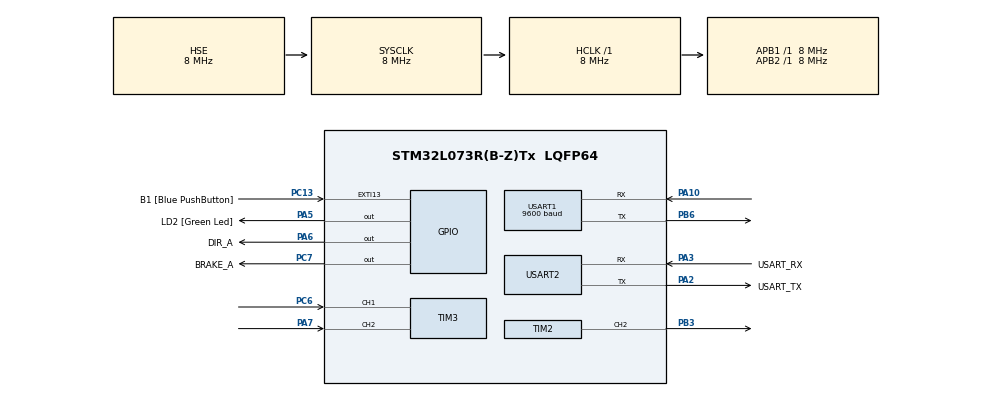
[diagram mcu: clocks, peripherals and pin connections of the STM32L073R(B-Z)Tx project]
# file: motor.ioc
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Mcu.Family=STM32L0
Mcu.Name=STM32L073R(B-Z)Tx
Mcu.Package=LQFP64
NVIC.USART1_IRQn=true\:0\:0\:false\:false\:true\:true\:true\:true
PA10.Mode=Asynchronous
PA10.Signal=USART1_RX
PA13.GPIO_Label=TMS
PA13.Mode=Serial_Wire
PA13.Signal=SYS_SWDIO
PA14.GPIO_Label=TCK
PA14.Mode=Serial_Wire
PA14.Signal=SYS_SWCLK
PA2.GPIO_Label=USART_TX
PA2.Mode=Asynchronous
PA2.Signal=USART2_TX
PA3.GPIO_Label=USART_RX
PA3.Mode=Asynchronous
PA3.Signal=USART2_RX
PA5.GPIO_Label=LD2 [Green Led]
PA5.Signal=GPIO_Output
PA6.GPIO_Label=DIR_A
PA6.GPIO_Speed=GPIO_SPEED_FREQ_MEDIUM
PA6.Signal=GPIO_Output
PA7.Signal=S_TIM3_CH2
PB3.Signal=S_TIM2_CH2
PB6.Mode=Asynchronous
PB6.Signal=USART1_TX
PC13.GPIO_Label=B1 [Blue PushButton]
PC13.GPIO_ModeDefaultEXTI=GPIO_MODE_IT_FALLING
PC13.Signal=GPXTI13
PC14-OSC32_IN.Mode=LSE-External-Oscillator
PC14-OSC32_IN.Signal=RCC_OSC32_IN
PC15-OSC32_OUT.Mode=LSE-External-Oscillator
PC15-OSC32_OUT.Signal=RCC_OSC32_OUT
PC6.Signal=S_TIM3_CH1
PC7.GPIO_Label=BRAKE_A
PC7.GPIO_Speed=GPIO_SPEED_FREQ_MEDIUM
PC7.Signal=GPIO_Output
PH0-OSC_IN.GPIO_Label=MCO
PH0-OSC_IN.Mode=HSE-External-Clock-Source
PH0-OSC_IN.Signal=RCC_OSC_IN
ProjectManager.HeapSize=0x200
ProjectManager.StackSize=0x400
ProjectManager.TargetToolchain=MDK-ARM V5.32
RCC.AHBFreq_Value=8000000
RCC.APB1Freq_Value=8000000
RCC.APB1TimFreq_Value=8000000
RCC.APB2Freq_Value=8000000
RCC.APB2TimFreq_Value=8000000
RCC.HCLKFreq_Value=8000000
RCC.HSE_VALUE=8000000
RCC.HSI16_VALUE=16000000
RCC.HSI48_VALUE=48000000
RCC.HSI_VALUE=16000000
RCC.MSI_VALUE=2097000
RCC.SYSCLKFreq_VALUE=8000000
RCC.SYSCLKSource=RCC_SYSCLKSOURCE_HSE
RCC.VCOOutputFreq_Value=48000000
SH.S_TIM2_CH2.0=TIM2_CH2,PWM Generation2 CH2
SH.S_TIM3_CH1.0=TIM3_CH1,Encoder_Interface
SH.S_TIM3_CH2.0=TIM3_CH2,Encoder_Interface
TIM2.Channel-PWM\ Generation2\ CH2=TIM_CHANNEL_2
TIM2.Period=1000-1
TIM2.Prescaler=8-1
USART1.BaudRate=9600
USART1.VirtualMode-Asynchronous=VM_ASYNC
USART2.VirtualMode-Asynchronous=VM_ASYNC
VP_TIM2_VS_ClockSourceINT.Mode=Internal
board=NUCLEO-L073RZ

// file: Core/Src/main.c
/* USER CODE BEGIN Header */
/**
  ******************************************************************************
  * @file           : main.c
  * @brief          : Main program body - Motor Direct Control with Encoder Feedback
  ******************************************************************************
  * @attention
  *
  * ? ??? ?????? ?? ?? ??? STM32? ?? ????,
  * TIM3(PB0, PB1)? ??? ??? ??? ?? ???? ?????.
  *
  ******************************************************************************
  */
/* USER CODE END Header */
#include "main.h"

/* USER CODE BEGIN Includes */
// ??? ?? ?????? ??? ??? ??
#include <string.h>
#include "hw_vcom.h"
#include <stdio.h>
#include <stdint.h>

/* USER CODE END Includes */

TIM_HandleTypeDef htim2;
TIM_HandleTypeDef htim3;

UART_HandleTypeDef huart1;
UART_HandleTypeDef huart2;

/* USER CODE BEGIN PV */
//#define PWM_DUTY_CYCLE 500
#define MOTOR_DIR_A_GPIO_Port GPIOA
#define MOTOR_DIR_A_Pin GPIO_PIN_6
#define MOTOR_BRAKE_GPIO_Port GPIOC
#define MOTOR_BRAKE_Pin GPIO_PIN_7
/* USER CODE END PV */

void SystemClock_Config(void);
static void MX_GPIO_Init(void);
static void MX_USART2_UART_Init(void);
static void MX_TIM2_Init(void);
static void MX_TIM3_Init(void);
static void MX_USART1_UART_Init(void);
/* USER CODE BEGIN PFP */
void Motor_Forward(void);
void Motor_Backward(void);
void Motor_Stop(void);
int16_t Get_Encoder_Count(void);
void Print_Encoder_Value(void);
uint32_t MotorPulse = 1000;
volatile uint8_t rxData;
volatile int Motorflag = 0;

/* USER CODE END PFP */

/* USER CODE BEGIN 0 */
/**
  * @brief  ??: ???(MOTOR_DIR1 HIGH, MOTOR_DIR2 LOW) ?? ? ?? ENABLE ??? HIGH?
  */
void HAL_UART_RxCpltCallback(UART_HandleTypeDef *huart)
{
    if (huart->Instance == USART1)
    {
				Motorflag = 1;
        HAL_UART_Receive_IT(&huart1, &rxData, 1);
    }
}
void Motor_Forward(void)
{
    HAL_GPIO_WritePin(MOTOR_DIR_A_GPIO_Port, MOTOR_DIR_A_Pin, GPIO_PIN_SET);

    __HAL_TIM_SET_COMPARE(&htim2, TIM_CHANNEL_2, MotorPulse); // PWM ??
    HAL_TIM_PWM_Start(&htim2, TIM_CHANNEL_2); // PWM ?? ??
		//printf("Motor Forward\r\n");
		Printf("Forward PWM: %u\r\n", __HAL_TIM_GET_COMPARE(&htim2, TIM_CHANNEL_2));
		Printf("Motor Forward - PA6: %d\r\n", HAL_GPIO_ReadPin(MOTOR_DIR_A_GPIO_Port, MOTOR_DIR_A_Pin));
		Printf("Brake Pin (PC7) State: %d\r\n", HAL_GPIO_ReadPin(MOTOR_BRAKE_GPIO_Port, MOTOR_BRAKE_Pin));
		Printf("\n");
}

// ?? ??
void Motor_Backward(void)
{
    HAL_GPIO_WritePin(MOTOR_DIR_A_GPIO_Port, MOTOR_DIR_A_Pin, GPIO_PIN_RESET);

    __HAL_TIM_SET_COMPARE(&htim2, TIM_CHANNEL_2, MotorPulse); // PWM ??
		HAL_TIM_PWM_Start(&htim2, TIM_CHANNEL_2); // PWM ?? ??
		//printf("Motor Backward\r\n");
		Printf("Backward PWM: %u\r\n", __HAL_TIM_GET_COMPARE(&htim2, TIM_CHANNEL_2));
		Printf("Motor Backward - PA6: %d\r\n", HAL_GPIO_ReadPin(MOTOR_DIR_A_GPIO_Port, MOTOR_DIR_A_Pin));
		Printf("Brake Pin (PC7) State: %d\r\n", HAL_GPIO_ReadPin(MOTOR_BRAKE_GPIO_Port, MOTOR_BRAKE_Pin));
		Printf("\n");
}

// ?? ??
void Motor_Stop(void)
{
    HAL_GPIO_WritePin(MOTOR_BRAKE_GPIO_Port, MOTOR_BRAKE_Pin, GPIO_PIN_SET);

    HAL_TIM_PWM_Stop(&htim2, TIM_CHANNEL_2); // PWM ?? ??
		//printf("Motor Stopped\r\n");
}

void Motor_Release(void)
{
    HAL_GPIO_WritePin(MOTOR_BRAKE_GPIO_Port, MOTOR_BRAKE_Pin, GPIO_PIN_RESET); // ???? ?? (?? ??)
}

// ??? ? ??
int16_t Get_Encoder_Count(void)
{
    return __HAL_TIM_GET_COUNTER(&htim3);
}

// ??? ? UART? ??
void Print_Encoder_Value(void)
{
    char buffer[50];
    int16_t count = Get_Encoder_Count();
    snprintf(buffer, sizeof(buffer), "Encoder Count: %d\r\n", count);
    HAL_UART_Transmit(&huart2, (uint8_t *)buffer, strlen(buffer), 100);
}
/* USER CODE END 0 */

int main(void)
{

  /* MCU Configuration--------------------------------------------------------*/

  /* Reset of all peripherals, Initializes the Flash interface and the Systick. */
  HAL_Init();

  /* Configure the system clock */
  SystemClock_Config();

  /* Initialize all configured peripherals */
  MX_GPIO_Init();
  MX_USART2_UART_Init();
  MX_TIM2_Init();
  MX_TIM3_Init();
  MX_USART1_UART_Init();
  /* USER CODE BEGIN 2 */
  // TIM3 ??? ????? ???
  if (HAL_TIM_Encoder_Start(&htim3, TIM_CHANNEL_ALL) != HAL_OK)
  {
    Error_Handler();
  }
  HAL_UART_Receive_IT(&huart1, &rxData, 1);
  // PWM ??? ??
  //__HAL_TIM_SET_COMPARE(&htim2, TIM_CHANNEL_2, MotorPulse);
  Motor_Forward();

  /* USER CODE END 2 */

  /* Infinite loop */
  /* USER CODE BEGIN WHILE */
  while (1)
	{
		if(Motorflag) {
			Printf("Received: %c\r\n", rxData);
			if (rxData == '1')
			{
				Motor_Stop();
			}
			Motorflag = 0;
		}
	}
    /* USER CODE END WHILE */

}

void SystemClock_Config(void)
{
  RCC_OscInitTypeDef RCC_OscInitStruct = {0};
  RCC_ClkInitTypeDef RCC_ClkInitStruct = {0};
  RCC_PeriphCLKInitTypeDef PeriphClkInit = {0};

  /** Configure the main internal regulator output voltage
  */
  __HAL_PWR_VOLTAGESCALING_CONFIG(PWR_REGULATOR_VOLTAGE_SCALE1);

  /** Initializes the RCC Oscillators according to the specified parameters
  * in the RCC_OscInitTypeDef structure.
  */
  RCC_OscInitStruct.OscillatorType = RCC_OSCILLATORTYPE_HSE;
  RCC_OscInitStruct.HSEState = RCC_HSE_BYPASS;
  RCC_OscInitStruct.PLL.PLLState = RCC_PLL_NONE;
  if (HAL_RCC_OscConfig(&RCC_OscInitStruct) != HAL_OK)
  {
    Error_Handler();
  }

  /** Initializes the CPU, AHB and APB buses clocks
  */
  RCC_ClkInitStruct.ClockType = RCC_CLOCKTYPE_HCLK|RCC_CLOCKTYPE_SYSCLK
                              |RCC_CLOCKTYPE_PCLK1|RCC_CLOCKTYPE_PCLK2;
  RCC_ClkInitStruct.SYSCLKSource = RCC_SYSCLKSOURCE_HSE;
  RCC_ClkInitStruct.AHBCLKDivider = RCC_SYSCLK_DIV1;
  RCC_ClkInitStruct.APB1CLKDivider = RCC_HCLK_DIV1;
  RCC_ClkInitStruct.APB2CLKDivider = RCC_HCLK_DIV1;

  if (HAL_RCC_ClockConfig(&RCC_ClkInitStruct, FLASH_LATENCY_0) != HAL_OK)
  {
    Error_Handler();
  }
  PeriphClkInit.PeriphClockSelection = RCC_PERIPHCLK_USART1|RCC_PERIPHCLK_USART2;
  PeriphClkInit.Usart1ClockSelection = RCC_USART1CLKSOURCE_PCLK2;
  PeriphClkInit.Usart2ClockSelection = RCC_USART2CLKSOURCE_PCLK1;
  if (HAL_RCCEx_PeriphCLKConfig(&PeriphClkInit) != HAL_OK)
  {
    Error_Handler();
  }
}

static void MX_TIM2_Init(void)
{

  TIM_ClockConfigTypeDef sClockSourceConfig = {0};
  TIM_MasterConfigTypeDef sMasterConfig = {0};
  TIM_OC_InitTypeDef sConfigOC = {0};

  htim2.Instance = TIM2;
  htim2.Init.Prescaler = 8-1;
  htim2.Init.CounterMode = TIM_COUNTERMODE_UP;
  htim2.Init.Period = 1000-1;
  htim2.Init.ClockDivision = TIM_CLOCKDIVISION_DIV1;
  htim2.Init.AutoReloadPreload = TIM_AUTORELOAD_PRELOAD_DISABLE;
  if (HAL_TIM_Base_Init(&htim2) != HAL_OK)
  {
    Error_Handler();
  }
  sClockSourceConfig.ClockSource = TIM_CLOCKSOURCE_INTERNAL;
  if (HAL_TIM_ConfigClockSource(&htim2, &sClockSourceConfig) != HAL_OK)
  {
    Error_Handler();
  }
  if (HAL_TIM_PWM_Init(&htim2) != HAL_OK)
  {
    Error_Handler();
  }
  sMasterConfig.MasterOutputTrigger = TIM_TRGO_RESET;
  sMasterConfig.MasterSlaveMode = TIM_MASTERSLAVEMODE_DISABLE;
  if (HAL_TIMEx_MasterConfigSynchronization(&htim2, &sMasterConfig) != HAL_OK)
  {
    Error_Handler();
  }
  sConfigOC.OCMode = TIM_OCMODE_PWM1;
  sConfigOC.Pulse = 0;
  sConfigOC.OCPolarity = TIM_OCPOLARITY_HIGH;
  sConfigOC.OCFastMode = TIM_OCFAST_DISABLE;
  if (HAL_TIM_PWM_ConfigChannel(&htim2, &sConfigOC, TIM_CHANNEL_2) != HAL_OK)
  {
    Error_Handler();
  }
  HAL_TIM_MspPostInit(&htim2);

}

static void MX_TIM3_Init(void)
{

  TIM_Encoder_InitTypeDef sConfig = {0};
  TIM_MasterConfigTypeDef sMasterConfig = {0};

  htim3.Instance = TIM3;
  htim3.Init.Prescaler = 0;
  htim3.Init.CounterMode = TIM_COUNTERMODE_UP;
  htim3.Init.Period = 65535;
  htim3.Init.ClockDivision = TIM_CLOCKDIVISION_DIV1;
  htim3.Init.AutoReloadPreload = TIM_AUTORELOAD_PRELOAD_DISABLE;
  sConfig.EncoderMode = TIM_ENCODERMODE_TI1;
  sConfig.IC1Polarity = TIM_ICPOLARITY_RISING;
  sConfig.IC1Selection = TIM_ICSELECTION_DIRECTTI;
  sConfig.IC1Prescaler = TIM_ICPSC_DIV1;
  sConfig.IC1Filter = 0;
  sConfig.IC2Polarity = TIM_ICPOLARITY_RISING;
  sConfig.IC2Selection = TIM_ICSELECTION_DIRECTTI;
  sConfig.IC2Prescaler = TIM_ICPSC_DIV1;
  sConfig.IC2Filter = 0;
  if (HAL_TIM_Encoder_Init(&htim3, &sConfig) != HAL_OK)
  {
    Error_Handler();
  }
  sMasterConfig.MasterOutputTrigger = TIM_TRGO_RESET;
  sMasterConfig.MasterSlaveMode = TIM_MASTERSLAVEMODE_DISABLE;
  if (HAL_TIMEx_MasterConfigSynchronization(&htim3, &sMasterConfig) != HAL_OK)
  {
    Error_Handler();
  }
  if (HAL_TIMEx_RemapConfig(&htim3, TIM3_TI1_GPIO) != HAL_OK)
  {
    Error_Handler();
  }

}

static void MX_USART1_UART_Init(void)
{

  huart1.Instance = USART1;
  huart1.Init.BaudRate = 9600;
  huart1.Init.WordLength = UART_WORDLENGTH_8B;
  huart1.Init.StopBits = UART_STOPBITS_1;
  huart1.Init.Parity = UART_PARITY_NONE;
  huart1.Init.Mode = UART_MODE_TX_RX;
  huart1.Init.HwFlowCtl = UART_HWCONTROL_NONE;
  huart1.Init.OverSampling = UART_OVERSAMPLING_16;
  huart1.Init.OneBitSampling = UART_ONE_BIT_SAMPLE_DISABLE;
  huart1.AdvancedInit.AdvFeatureInit = UART_ADVFEATURE_NO_INIT;
  if (HAL_UART_Init(&huart1) != HAL_OK)
  {
    Error_Handler();
  }

}

static void MX_USART2_UART_Init(void)
{

  /* USER CODE BEGIN USART2_Init 1 */
	HW_VCOM_Init(&huart2);
  /* USER CODE END USART2_Init 1 */
  huart2.Instance = USART2;
  huart2.Init.BaudRate = 115200;
  huart2.Init.WordLength = UART_WORDLENGTH_8B;
  huart2.Init.StopBits = UART_STOPBITS_1;
  huart2.Init.Parity = UART_PARITY_NONE;
  huart2.Init.Mode = UART_MODE_TX_RX;
  huart2.Init.HwFlowCtl = UART_HWCONTROL_NONE;
  huart2.Init.OverSampling = UART_OVERSAMPLING_16;
  huart2.Init.OneBitSampling = UART_ONE_BIT_SAMPLE_DISABLE;
  huart2.AdvancedInit.AdvFeatureInit = UART_ADVFEATURE_NO_INIT;
  if (HAL_UART_Init(&huart2) != HAL_OK)
  {
    Error_Handler();
  }

}

static void MX_GPIO_Init(void)
{
  GPIO_InitTypeDef GPIO_InitStruct = {0};

  /* GPIO Ports Clock Enable */
  __HAL_RCC_GPIOC_CLK_ENABLE();
  __HAL_RCC_GPIOH_CLK_ENABLE();
  __HAL_RCC_GPIOA_CLK_ENABLE();
  __HAL_RCC_GPIOB_CLK_ENABLE();

  /*Configure GPIO pin Output Level */
  HAL_GPIO_WritePin(GPIOA, LD2_Pin|DIR_A_Pin, GPIO_PIN_RESET);

  /*Configure GPIO pin Output Level */
  HAL_GPIO_WritePin(BRAKE_A_GPIO_Port, BRAKE_A_Pin, GPIO_PIN_RESET);

  /*Configure GPIO pin : B1_Pin */
  GPIO_InitStruct.Pin = B1_Pin;
  GPIO_InitStruct.Mode = GPIO_MODE_IT_FALLING;
  GPIO_InitStruct.Pull = GPIO_NOPULL;
  HAL_GPIO_Init(B1_GPIO_Port, &GPIO_InitStruct);

  /*Configure GPIO pin : LD2_Pin */
  GPIO_InitStruct.Pin = LD2_Pin;
  GPIO_InitStruct.Mode = GPIO_MODE_OUTPUT_PP;
  GPIO_InitStruct.Pull = GPIO_NOPULL;
  GPIO_InitStruct.Speed = GPIO_SPEED_FREQ_LOW;
  HAL_GPIO_Init(LD2_GPIO_Port, &GPIO_InitStruct);

  /*Configure GPIO pin : DIR_A_Pin */
  GPIO_InitStruct.Pin = DIR_A_Pin;
  GPIO_InitStruct.Mode = GPIO_MODE_OUTPUT_PP;
  GPIO_InitStruct.Pull = GPIO_NOPULL;
  GPIO_InitStruct.Speed = GPIO_SPEED_FREQ_MEDIUM;
  HAL_GPIO_Init(DIR_A_GPIO_Port, &GPIO_InitStruct);

  /*Configure GPIO pin : BRAKE_A_Pin */
  GPIO_InitStruct.Pin = BRAKE_A_Pin;
  GPIO_InitStruct.Mode = GPIO_MODE_OUTPUT_PP;
  GPIO_InitStruct.Pull = GPIO_NOPULL;
  GPIO_InitStruct.Speed = GPIO_SPEED_FREQ_MEDIUM;
  HAL_GPIO_Init(BRAKE_A_GPIO_Port, &GPIO_InitStruct);

}

void Error_Handler(void)
{
  __disable_irq();
  while (1)
  {
  }
}
